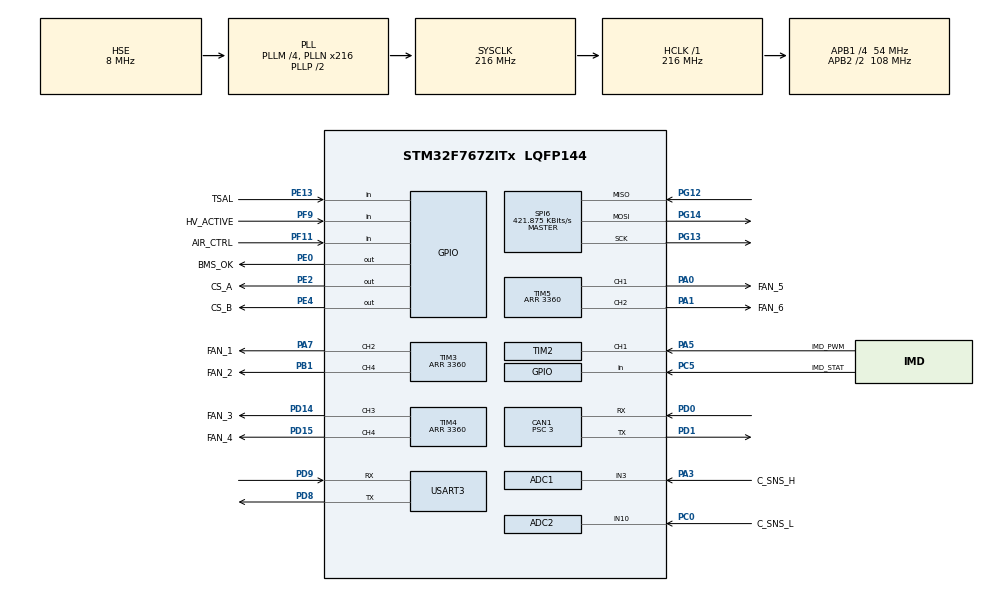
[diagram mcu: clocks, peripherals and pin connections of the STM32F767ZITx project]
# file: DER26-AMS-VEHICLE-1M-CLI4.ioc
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ADC1.Channel-0\#ChannelRegularConversion=ADC_CHANNEL_3
ADC1.ClockPrescaler=ADC_CLOCK_SYNC_PCLK_DIV6
ADC1.NbrOfConversionFlag=1
ADC1.Rank-0\#ChannelRegularConversion=1
ADC1.SamplingTime-0\#ChannelRegularConversion=ADC_SAMPLETIME_480CYCLES
ADC1.master=1
ADC2.Channel-0\#ChannelRegularConversion=ADC_CHANNEL_10
ADC2.ClockPrescaler=ADC_CLOCK_SYNC_PCLK_DIV6
ADC2.NbrOfConversionFlag=1
ADC2.Rank-0\#ChannelRegularConversion=1
ADC2.SamplingTime-0\#ChannelRegularConversion=ADC_SAMPLETIME_480CYCLES
CAN1.ABOM=ENABLE
CAN1.AWUM=ENABLE
CAN1.BS1=CAN_BS1_15TQ
CAN1.BS2=CAN_BS2_2TQ
CAN1.SJW=CAN_SJW_2TQ
CAN1.CalculateBaudRate=1000000
CAN1.CalculateTimeBit=4000
CAN1.CalculateTimeQuantum=222.22222222222223
CAN1.Prescaler=3
CORTEX_M7.MPU_Control=__NULL
CORTEX_M7.default_mode_Activation=1
FREERTOS.Tasks01=defaultTask,24,128,StartDefaultTask,Default,NULL,Dynamic,NULL,NULL
FREERTOS.configENABLE_FPU=1
FREERTOS.configUSE_NEWLIB_REENTRANT=1
Mcu.Family=STM32F7
Mcu.Name=STM32F767ZITx
Mcu.Package=LQFP144
NVIC.CAN1_TX_IRQn=true\:5\:0\:false\:false\:true\:true\:true\:true\:true
NVIC.CAN1_SCE_IRQn=true\:5\:0\:false\:false\:true\:true\:true\:true\:true
NVIC.CAN1_RX0_IRQn=true\:5\:0\:false\:false\:true\:true\:true\:true\:true
NVIC.PriorityGroup=NVIC_PRIORITYGROUP_4
NVIC.TIM2_IRQn=true\:5\:0\:false\:false\:true\:true\:true\:true\:true
NVIC.TIM7_IRQn=true\:15\:0\:false\:false\:true\:false\:false\:true\:true
NVIC.TimeBase=TIM7_IRQn
NVIC.TimeBaseIP=TIM7
NVIC.USART3_IRQn=true\:5\:0\:false\:false\:true\:true\:true\:true\:true
PA0/WKUP.GPIO_Label=FAN_5
PA0/WKUP.Signal=S_TIM5_CH1
PA1.GPIO_Label=FAN_6
PA1.Signal=S_TIM5_CH2
PA13.Mode=Serial_Wire
PA13.Signal=SYS_JTMS-SWDIO
PA14.Mode=Serial_Wire
PA14.Signal=SYS_JTCK-SWCLK
PA3.GPIO_Label=C_SNS_H
PA3.Signal=ADCx_IN3
PA5.GPIO_Label=IMD_PWM
PA5.Signal=S_TIM2_CH1_ETR
PA7.GPIO_Label=FAN_1
PA7.Signal=S_TIM3_CH2
PB1.GPIO_Label=FAN_2
PB1.Signal=S_TIM3_CH4
PC0.GPIO_Label=C_SNS_L
PC0.Signal=ADCx_IN10
PC14/OSC32_IN.Mode=LSE-External-Oscillator
PC14/OSC32_IN.Signal=RCC_OSC32_IN
PC15/OSC32_OUT.Mode=LSE-External-Oscillator
PC15/OSC32_OUT.Signal=RCC_OSC32_OUT
PC5.GPIO_Label=IMD_STAT
PC5.Signal=GPIO_Input
PD0.Mode=CAN_Activate
PD0.Signal=CAN1_RX
PD1.Mode=CAN_Activate
PD1.Signal=CAN1_TX
PD14.GPIO_Label=FAN_3
PD14.Signal=S_TIM4_CH3
PD15.GPIO_Label=FAN_4
PD15.Signal=S_TIM4_CH4
PD8.Mode=Asynchronous
PD8.Signal=USART3_TX
PD9.Mode=Asynchronous
PD9.Signal=USART3_RX
PE0.GPIO_Label=BMS_OK
PE0.Signal=GPIO_Output
PE13.GPIO_Label=TSAL
PE13.Signal=GPIO_Input
PE2.GPIO_Label=CS_A
PE2.Signal=GPIO_Output
PE4.GPIO_Label=CS_B
PE4.Signal=GPIO_Output
PF11.GPIO_Label=AIR_CTRL
PF11.Signal=GPIO_Input
PG12.Mode=Full_Duplex_Master
PG12.Signal=SPI6_MISO
PG13.Mode=Full_Duplex_Master
PG13.Signal=SPI6_SCK
PG14.Mode=Full_Duplex_Master
PG14.Signal=SPI6_MOSI
PH0/OSC_IN.Mode=HSE-External-Oscillator
PH0/OSC_IN.Signal=RCC_OSC_IN
PH1/OSC_OUT.Mode=HSE-External-Oscillator
PH1/OSC_OUT.Signal=RCC_OSC_OUT
ProjectManager.HeapSize=0x200
ProjectManager.StackSize=0x400
ProjectManager.TargetToolchain=STM32CubeIDE
RCC.AHBFreq_Value=216000000
RCC.APB1CLKDivider=RCC_HCLK_DIV4
RCC.APB1Freq_Value=54000000
RCC.APB1TimFreq_Value=108000000
RCC.APB2CLKDivider=RCC_HCLK_DIV2
RCC.APB2Freq_Value=108000000
RCC.APB2TimFreq_Value=216000000
RCC.CortexFreq_Value=216000000
RCC.HCLKFreq_Value=216000000
RCC.HSE_VALUE=8000000
RCC.HSI_VALUE=16000000
RCC.PLLM=4
RCC.PLLN=216
RCC.PLLSourceVirtual=RCC_PLLSOURCE_HSE
RCC.SYSCLKFreq_VALUE=216000000
RCC.SYSCLKSource=RCC_SYSCLKSOURCE_PLLCLK
RCC.USBFreq_Value=216000000
RCC.VCOOutputFreq_Value=432000000
SH.ADCx_IN10.0=ADC2_IN10,IN10
SH.ADCx_IN3.0=ADC1_IN3,IN3
SH.S_TIM2_CH1_ETR.0=TIM2_CH1,PWM_Input_1
SH.S_TIM3_CH2.0=TIM3_CH2,PWM Generation2 CH2
SH.S_TIM3_CH4.0=TIM3_CH4,PWM Generation4 CH4
SH.S_TIM4_CH3.0=TIM4_CH3,PWM Generation3 CH3
SH.S_TIM4_CH4.0=TIM4_CH4,PWM Generation4 CH4
SH.S_TIM5_CH1.0=TIM5_CH1,PWM Generation1 CH1
SH.S_TIM5_CH2.0=TIM5_CH2,PWM Generation2 CH2
SPI6.BaudRatePrescaler=SPI_BAUDRATEPRESCALER_256
SPI6.CLKPhase=SPI_PHASE_2EDGE
SPI6.CLKPolarity=SPI_POLARITY_HIGH
SPI6.CalculateBaudRate=421.875 KBits/s
SPI6.DataSize=SPI_DATASIZE_8BIT
SPI6.Direction=SPI_DIRECTION_2LINES
SPI6.Mode=SPI_MODE_MASTER
SPI6.VirtualType=VM_MASTER
TIM1.AutoReloadPreload=TIM_AUTORELOAD_PRELOAD_ENABLE
TIM1.Prescaler=215
TIM3.Channel-PWM\ Generation2\ CH2=TIM_CHANNEL_2
TIM3.Channel-PWM\ Generation4\ CH4=TIM_CHANNEL_4
TIM3.Period=3360
TIM4.AutoReloadPreload=TIM_AUTORELOAD_PRELOAD_ENABLE
TIM4.Channel-PWM\ Generation3\ CH3=TIM_CHANNEL_3
TIM4.Channel-PWM\ Generation4\ CH4=TIM_CHANNEL_4
TIM4.Period=3360
TIM5.AutoReloadPreload=TIM_AUTORELOAD_PRELOAD_ENABLE
TIM5.Channel-PWM\ Generation1\ CH1=TIM_CHANNEL_1
TIM5.Channel-PWM\ Generation2\ CH2=TIM_CHANNEL_2
TIM5.Period=3360
USART3.VirtualMode-Asynchronous=VM_ASYNC
VP_FREERTOS_VS_CMSIS_V2.Mode=CMSIS_V2
VP_SYS_VS_tim7.Mode=TIM7
VP_TIM1_VS_ClockSourceINT.Mode=Internal
VP_TIM2_VS_ClockSourceINT.Mode=Internal
VP_TIM3_VS_ClockSourceINT.Mode=Internal
VP_TIM4_VS_ClockSourceINT.Mode=Internal
VP_TIM5_VS_ClockSourceINT.Mode=Internal
board=custom
PF9.GPIO_Label=HV_ACTIVE
PF9.Signal=GPIO_Input

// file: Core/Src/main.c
/* USER CODE BEGIN Header */
/**
  ******************************************************************************
  * @file           : main.c
  * @brief          : Main program body
  ******************************************************************************
  * @attention
  *
  * Copyright (c) 2025 STMicroelectronics.
  * All rights reserved.
  *
  * This software is licensed under terms that can be found in the LICENSE file
  * in the root directory of this software component.
  * If no LICENSE file comes with this software, it is provided AS-IS.
  *
  ******************************************************************************
  */
/* USER CODE END Header */
#include "main.h"
#include "cmsis_os.h"

/* USER CODE BEGIN Includes */
#include "app.h"
#include "diagnostics/ams_perf.h"
#include "ext_drivers/ams_spi6_transport.h"
#include "ext_drivers/ams_safety.h"
/* USER CODE END Includes */

ADC_HandleTypeDef hadc1;
ADC_HandleTypeDef hadc2;

CAN_HandleTypeDef hcan1;

SPI_HandleTypeDef hspi6;

TIM_HandleTypeDef htim1;
TIM_HandleTypeDef htim2;
TIM_HandleTypeDef htim3;
TIM_HandleTypeDef htim4;
TIM_HandleTypeDef htim5;

UART_HandleTypeDef huart3;

/* Definitions for defaultTask */
osThreadId_t defaultTaskHandle;
const osThreadAttr_t defaultTask_attributes = {
  .name = "defaultTask",
  .stack_size = 128 * 4,
  .priority = (osPriority_t) osPriorityNormal,
};

void SystemClock_Config(void);
static void MX_GPIO_Init(void);
static void MX_ADC1_Init(void);
static void MX_ADC2_Init(void);
static void MX_CAN1_Init(void);
static void MX_SPI6_Init(void);
static void MX_TIM2_Init(void);
static void MX_TIM3_Init(void);
static void MX_TIM4_Init(void);
static void MX_TIM5_Init(void);
static void MX_USART3_UART_Init(void);
static void MX_TIM1_Init(void);
void StartDefaultTask(void *argument);

int main(void)
{

  /* MCU Configuration--------------------------------------------------------*/

  /* Reset of all peripherals, Initializes the Flash interface and the Systick. */
#if AMS_BENCHMARK_ICACHE
  SCB_EnableICache();
#endif
#if AMS_BENCHMARK_DCACHE
  SCB_EnableDCache();
#endif
  HAL_Init();

  /* USER CODE BEGIN Init */
  ams_safety_force_bms_low();
  ams_safety_record_reset_cause();
  ams_safety_enable_cpu_faults();
  /* USER CODE END Init */

  /* Configure the system clock */
  SystemClock_Config();

  /* USER CODE BEGIN SysInit */
  ams_perf_init();

  /* USER CODE END SysInit */

  /* Initialize all configured peripherals */
  MX_GPIO_Init();
  MX_ADC1_Init();
  MX_ADC2_Init();
  MX_CAN1_Init();
  MX_SPI6_Init();
  MX_TIM2_Init();
  MX_TIM3_Init();
  MX_TIM4_Init();
  MX_TIM5_Init();
#if AMS_ENABLE_CLI
  MX_USART3_UART_Init();
#endif
  MX_TIM1_Init();

  /* Init scheduler */
  osKernelInitialize();

  /* USER CODE BEGIN RTOS_QUEUES */
  /* add queues, ... */
#if 0
  /* USER CODE END RTOS_QUEUES */

  /* Create the thread(s) */
  /* creation of defaultTask */
  defaultTaskHandle = osThreadNew(StartDefaultTask, NULL, &defaultTask_attributes);

  /* USER CODE BEGIN RTOS_THREADS */
#endif
  /* add threads, ... */
  /* USER CODE END RTOS_THREADS */

  /* USER CODE BEGIN RTOS_EVENTS */
  /* add events, ... */
  app_create();
  /* USER CODE END RTOS_EVENTS */

  /* Start scheduler */
  osKernelStart();

  /* Reaching this point means the scheduler failed to start or returned. */
  __disable_irq();
  ams_safety_panic(AMS_PANIC_SCHEDULER_RETURNED);

  /* We should never get here as control is now taken by the scheduler */

  /* Infinite loop */
  while (1)
  {

  }
}

void SystemClock_Config(void)
{
  RCC_OscInitTypeDef RCC_OscInitStruct = {0};
  RCC_ClkInitTypeDef RCC_ClkInitStruct = {0};

  /** Configure LSE Drive Capability
  */
  HAL_PWR_EnableBkUpAccess();

  /** Configure the main internal regulator output voltage
  */
  __HAL_RCC_PWR_CLK_ENABLE();
  __HAL_PWR_VOLTAGESCALING_CONFIG(PWR_REGULATOR_VOLTAGE_SCALE1);

  /** Initializes the RCC Oscillators according to the specified parameters
  * in the RCC_OscInitTypeDef structure.
  */
  RCC_OscInitStruct.OscillatorType = RCC_OSCILLATORTYPE_HSE;
  RCC_OscInitStruct.HSEState = RCC_HSE_ON;
  RCC_OscInitStruct.PLL.PLLState = RCC_PLL_ON;
  RCC_OscInitStruct.PLL.PLLSource = RCC_PLLSOURCE_HSE;
  RCC_OscInitStruct.PLL.PLLM = 4;
  RCC_OscInitStruct.PLL.PLLN = 216;
  RCC_OscInitStruct.PLL.PLLP = RCC_PLLP_DIV2;
  RCC_OscInitStruct.PLL.PLLQ = 2;
  RCC_OscInitStruct.PLL.PLLR = 2;
  if (HAL_RCC_OscConfig(&RCC_OscInitStruct) != HAL_OK)
  {
    Error_Handler();
  }

  /** Activate the Over-Drive mode
  */
  if (HAL_PWREx_EnableOverDrive() != HAL_OK)
  {
    Error_Handler();
  }

  /** Initializes the CPU, AHB and APB buses clocks
  */
  RCC_ClkInitStruct.ClockType = RCC_CLOCKTYPE_HCLK|RCC_CLOCKTYPE_SYSCLK
                              |RCC_CLOCKTYPE_PCLK1|RCC_CLOCKTYPE_PCLK2;
  RCC_ClkInitStruct.SYSCLKSource = RCC_SYSCLKSOURCE_PLLCLK;
  RCC_ClkInitStruct.AHBCLKDivider = RCC_SYSCLK_DIV1;
  RCC_ClkInitStruct.APB1CLKDivider = RCC_HCLK_DIV4;
  RCC_ClkInitStruct.APB2CLKDivider = RCC_HCLK_DIV2;

  if (HAL_RCC_ClockConfig(&RCC_ClkInitStruct, FLASH_LATENCY_7) != HAL_OK)
  {
    Error_Handler();
  }
}

static void MX_ADC1_Init(void)
{

  ADC_ChannelConfTypeDef sConfig = {0};

  /** Configure the global features of the ADC (Clock, Resolution, Data Alignment and number of conversion)
  */
  hadc1.Instance = ADC1;
  hadc1.Init.ClockPrescaler = ADC_CLOCK_SYNC_PCLK_DIV6;
  hadc1.Init.Resolution = ADC_RESOLUTION_12B;
  hadc1.Init.ScanConvMode = ADC_SCAN_DISABLE;
  hadc1.Init.ContinuousConvMode = DISABLE;
  hadc1.Init.DiscontinuousConvMode = DISABLE;
  hadc1.Init.ExternalTrigConvEdge = ADC_EXTERNALTRIGCONVEDGE_NONE;
  hadc1.Init.ExternalTrigConv = ADC_SOFTWARE_START;
  hadc1.Init.DataAlign = ADC_DATAALIGN_RIGHT;
  hadc1.Init.NbrOfConversion = 1;
  hadc1.Init.DMAContinuousRequests = DISABLE;
  hadc1.Init.EOCSelection = ADC_EOC_SINGLE_CONV;
  if (HAL_ADC_Init(&hadc1) != HAL_OK)
  {
    Error_Handler();
  }

  /** Configure for the selected ADC regular channel its corresponding rank in the sequencer and its sample time.
  */
  sConfig.Channel = ADC_CHANNEL_3;
  sConfig.Rank = ADC_REGULAR_RANK_1;
  sConfig.SamplingTime = AMS_CURRENT_ADC_SAMPLING_TIME;
  if (HAL_ADC_ConfigChannel(&hadc1, &sConfig) != HAL_OK)
  {
    Error_Handler();
  }

}

static void MX_ADC2_Init(void)
{

  ADC_ChannelConfTypeDef sConfig = {0};

  /** Configure the global features of the ADC (Clock, Resolution, Data Alignment and number of conversion)
  */
  hadc2.Instance = ADC2;
  hadc2.Init.ClockPrescaler = ADC_CLOCK_SYNC_PCLK_DIV6;
  hadc2.Init.Resolution = ADC_RESOLUTION_12B;
  hadc2.Init.ScanConvMode = ADC_SCAN_DISABLE;
  hadc2.Init.ContinuousConvMode = DISABLE;
  hadc2.Init.DiscontinuousConvMode = DISABLE;
  hadc2.Init.ExternalTrigConvEdge = ADC_EXTERNALTRIGCONVEDGE_NONE;
  hadc2.Init.ExternalTrigConv = ADC_SOFTWARE_START;
  hadc2.Init.DataAlign = ADC_DATAALIGN_RIGHT;
  hadc2.Init.NbrOfConversion = 1;
  hadc2.Init.DMAContinuousRequests = DISABLE;
  hadc2.Init.EOCSelection = ADC_EOC_SINGLE_CONV;
  if (HAL_ADC_Init(&hadc2) != HAL_OK)
  {
    Error_Handler();
  }

  /** Configure for the selected ADC regular channel its corresponding rank in the sequencer and its sample time.
  */
  sConfig.Channel = ADC_CHANNEL_10;
  sConfig.Rank = ADC_REGULAR_RANK_1;
  sConfig.SamplingTime = AMS_CURRENT_ADC_SAMPLING_TIME;
  if (HAL_ADC_ConfigChannel(&hadc2, &sConfig) != HAL_OK)
  {
    Error_Handler();
  }

}

static void MX_CAN1_Init(void)
{

  hcan1.Instance = CAN1;
  hcan1.Init.Prescaler = DER26_CAN_PRESCALER;
  hcan1.Init.Mode = CAN_MODE_NORMAL;
  hcan1.Init.SyncJumpWidth = DER26_CAN_SJW;
  hcan1.Init.TimeSeg1 = DER26_CAN_BS1;
  hcan1.Init.TimeSeg2 = DER26_CAN_BS2;
  hcan1.Init.TimeTriggeredMode = DISABLE;
  hcan1.Init.AutoBusOff = ENABLE;
  hcan1.Init.AutoWakeUp = ENABLE;
  hcan1.Init.AutoRetransmission = ENABLE;
  hcan1.Init.ReceiveFifoLocked = DISABLE;
  hcan1.Init.TransmitFifoPriority = DISABLE;
  if (HAL_CAN_Init(&hcan1) != HAL_OK)
  {
    Error_Handler();
  }
  /* USER CODE BEGIN CAN1_Init 2 */
  if (canbus_configure_rx_filters(&hcan1) != HAL_OK)
  {
    Error_Handler();
  }
  /* USER CODE END CAN1_Init 2 */

}

static void MX_SPI6_Init(void)
{

  /* SPI6 parameter configuration*/
  hspi6.Instance = SPI6;
  hspi6.Init.Mode = SPI_MODE_MASTER;
  hspi6.Init.Direction = SPI_DIRECTION_2LINES;
  hspi6.Init.DataSize = SPI_DATASIZE_8BIT;
  /* Drexel AMS ties ADBMS6822 PHAPOL/PHAPOL2 high, selecting SPI mode 3.
     Do not change to mode 0 unless the board strapping changes. */
  hspi6.Init.CLKPolarity = SPI_POLARITY_HIGH;
  hspi6.Init.CLKPhase = SPI_PHASE_2EDGE;
  hspi6.Init.NSS = SPI_NSS_SOFT;
#if AMS_ADBMS_SPI_PRESCALER_DIV == 64
  hspi6.Init.BaudRatePrescaler = SPI_BAUDRATEPRESCALER_64;
#elif AMS_ADBMS_SPI_PRESCALER_DIV == 128
  hspi6.Init.BaudRatePrescaler = SPI_BAUDRATEPRESCALER_128;
#else
  hspi6.Init.BaudRatePrescaler = SPI_BAUDRATEPRESCALER_256;
#endif
  hspi6.Init.FirstBit = SPI_FIRSTBIT_MSB;
  hspi6.Init.TIMode = SPI_TIMODE_DISABLE;
  hspi6.Init.CRCCalculation = SPI_CRCCALCULATION_DISABLE;
  hspi6.Init.CRCPolynomial = 7;
  hspi6.Init.CRCLength = SPI_CRC_LENGTH_DATASIZE;
  hspi6.Init.NSSPMode = SPI_NSS_PULSE_DISABLE;
  if (HAL_SPI_Init(&hspi6) != HAL_OK)
  {
    Error_Handler();
  }
  /* USER CODE BEGIN SPI6_Init 2 */
#if AMS_ADBMS_SPI_DMA
  ams_spi6_dma_init();
#endif

  /* USER CODE END SPI6_Init 2 */

}

static void MX_TIM1_Init(void)
{

  TIM_ClockConfigTypeDef sClockSourceConfig = {0};
  TIM_MasterConfigTypeDef sMasterConfig = {0};

  htim1.Instance = TIM1;
  htim1.Init.Prescaler = 215;
  htim1.Init.CounterMode = TIM_COUNTERMODE_UP;
  htim1.Init.Period = 65535;
  htim1.Init.ClockDivision = TIM_CLOCKDIVISION_DIV1;
  htim1.Init.RepetitionCounter = 0;
  htim1.Init.AutoReloadPreload = TIM_AUTORELOAD_PRELOAD_ENABLE;
  if (HAL_TIM_Base_Init(&htim1) != HAL_OK)
  {
    Error_Handler();
  }
  sClockSourceConfig.ClockSource = TIM_CLOCKSOURCE_INTERNAL;
  if (HAL_TIM_ConfigClockSource(&htim1, &sClockSourceConfig) != HAL_OK)
  {
    Error_Handler();
  }
  sMasterConfig.MasterOutputTrigger = TIM_TRGO_RESET;
  sMasterConfig.MasterOutputTrigger2 = TIM_TRGO2_RESET;
  sMasterConfig.MasterSlaveMode = TIM_MASTERSLAVEMODE_DISABLE;
  if (HAL_TIMEx_MasterConfigSynchronization(&htim1, &sMasterConfig) != HAL_OK)
  {
    Error_Handler();
  }

}

static void MX_TIM2_Init(void)
{

  TIM_ClockConfigTypeDef sClockSourceConfig = {0};
  TIM_SlaveConfigTypeDef sSlaveConfig = {0};
  TIM_IC_InitTypeDef sConfigIC = {0};
  TIM_MasterConfigTypeDef sMasterConfig = {0};

  htim2.Instance = TIM2;
  htim2.Init.Prescaler = 0;
  htim2.Init.CounterMode = TIM_COUNTERMODE_UP;
  htim2.Init.Period = 4294967295;
  htim2.Init.ClockDivision = TIM_CLOCKDIVISION_DIV1;
  htim2.Init.AutoReloadPreload = TIM_AUTORELOAD_PRELOAD_DISABLE;
  if (HAL_TIM_Base_Init(&htim2) != HAL_OK)
  {
    Error_Handler();
  }
  sClockSourceConfig.ClockSource = TIM_CLOCKSOURCE_INTERNAL;
  if (HAL_TIM_ConfigClockSource(&htim2, &sClockSourceConfig) != HAL_OK)
  {
    Error_Handler();
  }
  if (HAL_TIM_IC_Init(&htim2) != HAL_OK)
  {
    Error_Handler();
  }
  sSlaveConfig.SlaveMode = TIM_SLAVEMODE_RESET;
  sSlaveConfig.InputTrigger = TIM_TS_TI1FP1;
  sSlaveConfig.TriggerPolarity = TIM_INPUTCHANNELPOLARITY_RISING;
  sSlaveConfig.TriggerPrescaler = TIM_ICPSC_DIV1;
  sSlaveConfig.TriggerFilter = 0;
  if (HAL_TIM_SlaveConfigSynchro(&htim2, &sSlaveConfig) != HAL_OK)
  {
    Error_Handler();
  }
  sConfigIC.ICPolarity = TIM_INPUTCHANNELPOLARITY_RISING;
  sConfigIC.ICSelection = TIM_ICSELECTION_DIRECTTI;
  sConfigIC.ICPrescaler = TIM_ICPSC_DIV1;
  sConfigIC.ICFilter = 0;
  if (HAL_TIM_IC_ConfigChannel(&htim2, &sConfigIC, TIM_CHANNEL_1) != HAL_OK)
  {
    Error_Handler();
  }
  sConfigIC.ICPolarity = TIM_INPUTCHANNELPOLARITY_FALLING;
  sConfigIC.ICSelection = TIM_ICSELECTION_INDIRECTTI;
  if (HAL_TIM_IC_ConfigChannel(&htim2, &sConfigIC, TIM_CHANNEL_2) != HAL_OK)
  {
    Error_Handler();
  }
  sMasterConfig.MasterOutputTrigger = TIM_TRGO_RESET;
  sMasterConfig.MasterSlaveMode = TIM_MASTERSLAVEMODE_DISABLE;
  if (HAL_TIMEx_MasterConfigSynchronization(&htim2, &sMasterConfig) != HAL_OK)
  {
    Error_Handler();
  }

}

static void MX_TIM3_Init(void)
{

  TIM_ClockConfigTypeDef sClockSourceConfig = {0};
  TIM_MasterConfigTypeDef sMasterConfig = {0};
  TIM_OC_InitTypeDef sConfigOC = {0};

  htim3.Instance = TIM3;
  htim3.Init.Prescaler = 0;
  htim3.Init.CounterMode = TIM_COUNTERMODE_UP;
  htim3.Init.Period = 3360;
  htim3.Init.ClockDivision = TIM_CLOCKDIVISION_DIV1;
  htim3.Init.AutoReloadPreload = TIM_AUTORELOAD_PRELOAD_DISABLE;
  if (HAL_TIM_Base_Init(&htim3) != HAL_OK)
  {
    Error_Handler();
  }
  sClockSourceConfig.ClockSource = TIM_CLOCKSOURCE_INTERNAL;
  if (HAL_TIM_ConfigClockSource(&htim3, &sClockSourceConfig) != HAL_OK)
  {
    Error_Handler();
  }
  if (HAL_TIM_PWM_Init(&htim3) != HAL_OK)
  {
    Error_Handler();
  }
  sMasterConfig.MasterOutputTrigger = TIM_TRGO_RESET;
  sMasterConfig.MasterSlaveMode = TIM_MASTERSLAVEMODE_DISABLE;
  if (HAL_TIMEx_MasterConfigSynchronization(&htim3, &sMasterConfig) != HAL_OK)
  {
    Error_Handler();
  }
  sConfigOC.OCMode = TIM_OCMODE_PWM1;
  sConfigOC.Pulse = 0;
  sConfigOC.OCPolarity = TIM_OCPOLARITY_HIGH;
  sConfigOC.OCFastMode = TIM_OCFAST_DISABLE;
  if (HAL_TIM_PWM_ConfigChannel(&htim3, &sConfigOC, TIM_CHANNEL_2) != HAL_OK)
  {
    Error_Handler();
  }
  if (HAL_TIM_PWM_ConfigChannel(&htim3, &sConfigOC, TIM_CHANNEL_4) != HAL_OK)
  {
    Error_Handler();
  }
  HAL_TIM_MspPostInit(&htim3);

}

static void MX_TIM4_Init(void)
{

  TIM_ClockConfigTypeDef sClockSourceConfig = {0};
  TIM_MasterConfigTypeDef sMasterConfig = {0};
  TIM_OC_InitTypeDef sConfigOC = {0};

  htim4.Instance = TIM4;
  htim4.Init.Prescaler = 0;
  htim4.Init.CounterMode = TIM_COUNTERMODE_UP;
  htim4.Init.Period = 3360;
  htim4.Init.ClockDivision = TIM_CLOCKDIVISION_DIV1;
  htim4.Init.AutoReloadPreload = TIM_AUTORELOAD_PRELOAD_ENABLE;
  if (HAL_TIM_Base_Init(&htim4) != HAL_OK)
  {
    Error_Handler();
  }
  sClockSourceConfig.ClockSource = TIM_CLOCKSOURCE_INTERNAL;
  if (HAL_TIM_ConfigClockSource(&htim4, &sClockSourceConfig) != HAL_OK)
  {
    Error_Handler();
  }
  if (HAL_TIM_PWM_Init(&htim4) != HAL_OK)
  {
    Error_Handler();
  }
  sMasterConfig.MasterOutputTrigger = TIM_TRGO_RESET;
  sMasterConfig.MasterSlaveMode = TIM_MASTERSLAVEMODE_DISABLE;
  if (HAL_TIMEx_MasterConfigSynchronization(&htim4, &sMasterConfig) != HAL_OK)
  {
    Error_Handler();
  }
  sConfigOC.OCMode = TIM_OCMODE_PWM1;
  sConfigOC.Pulse = 0;
  sConfigOC.OCPolarity = TIM_OCPOLARITY_HIGH;
  sConfigOC.OCFastMode = TIM_OCFAST_DISABLE;
  if (HAL_TIM_PWM_ConfigChannel(&htim4, &sConfigOC, TIM_CHANNEL_3) != HAL_OK)
  {
    Error_Handler();
  }
  if (HAL_TIM_PWM_ConfigChannel(&htim4, &sConfigOC, TIM_CHANNEL_4) != HAL_OK)
  {
    Error_Handler();
  }
  HAL_TIM_MspPostInit(&htim4);

}

static void MX_TIM5_Init(void)
{

  TIM_ClockConfigTypeDef sClockSourceConfig = {0};
  TIM_MasterConfigTypeDef sMasterConfig = {0};
  TIM_OC_InitTypeDef sConfigOC = {0};

  htim5.Instance = TIM5;
  htim5.Init.Prescaler = 0;
  htim5.Init.CounterMode = TIM_COUNTERMODE_UP;
  htim5.Init.Period = 3360;
  htim5.Init.ClockDivision = TIM_CLOCKDIVISION_DIV1;
  htim5.Init.AutoReloadPreload = TIM_AUTORELOAD_PRELOAD_ENABLE;
  if (HAL_TIM_Base_Init(&htim5) != HAL_OK)
  {
    Error_Handler();
  }
  sClockSourceConfig.ClockSource = TIM_CLOCKSOURCE_INTERNAL;
  if (HAL_TIM_ConfigClockSource(&htim5, &sClockSourceConfig) != HAL_OK)
  {
    Error_Handler();
  }
  if (HAL_TIM_PWM_Init(&htim5) != HAL_OK)
  {
    Error_Handler();
  }
  sMasterConfig.MasterOutputTrigger = TIM_TRGO_RESET;
  sMasterConfig.MasterSlaveMode = TIM_MASTERSLAVEMODE_DISABLE;
  if (HAL_TIMEx_MasterConfigSynchronization(&htim5, &sMasterConfig) != HAL_OK)
  {
    Error_Handler();
  }
  sConfigOC.OCMode = TIM_OCMODE_PWM1;
  sConfigOC.Pulse = 0;
  sConfigOC.OCPolarity = TIM_OCPOLARITY_HIGH;
  sConfigOC.OCFastMode = TIM_OCFAST_DISABLE;
  if (HAL_TIM_PWM_ConfigChannel(&htim5, &sConfigOC, TIM_CHANNEL_1) != HAL_OK)
  {
    Error_Handler();
  }
  if (HAL_TIM_PWM_ConfigChannel(&htim5, &sConfigOC, TIM_CHANNEL_2) != HAL_OK)
  {
    Error_Handler();
  }
  HAL_TIM_MspPostInit(&htim5);

}

static void MX_USART3_UART_Init(void)
{

  huart3.Instance = USART3;
  huart3.Init.BaudRate = 115200;
  huart3.Init.WordLength = UART_WORDLENGTH_8B;
  huart3.Init.StopBits = UART_STOPBITS_1;
  huart3.Init.Parity = UART_PARITY_NONE;
  huart3.Init.Mode = UART_MODE_TX_RX;
  huart3.Init.HwFlowCtl = UART_HWCONTROL_NONE;
  huart3.Init.OverSampling = UART_OVERSAMPLING_16;
  huart3.Init.OneBitSampling = UART_ONE_BIT_SAMPLE_DISABLE;
  huart3.AdvancedInit.AdvFeatureInit = UART_ADVFEATURE_NO_INIT;
  if (HAL_UART_Init(&huart3) != HAL_OK)
  {
    Error_Handler();
  }

}

static void MX_GPIO_Init(void)
{
  GPIO_InitTypeDef GPIO_InitStruct = {0};

  /* GPIO Ports Clock Enable */
  __HAL_RCC_GPIOE_CLK_ENABLE();
  __HAL_RCC_GPIOC_CLK_ENABLE();
  __HAL_RCC_GPIOF_CLK_ENABLE();
  __HAL_RCC_GPIOH_CLK_ENABLE();
  __HAL_RCC_GPIOA_CLK_ENABLE();
  __HAL_RCC_GPIOB_CLK_ENABLE();
  __HAL_RCC_GPIOG_CLK_ENABLE();
  __HAL_RCC_GPIOD_CLK_ENABLE();

  /*Configure GPIO pin Output Level */
  /* CS lines are active low. Keep both isoSPI chip-selects deselected
     immediately at GPIO init; BMS_OK remains low until safety checks pass. */
  HAL_GPIO_WritePin(CS_A_GPIO_Port, CS_A_Pin, GPIO_PIN_SET);
  HAL_GPIO_WritePin(CS_B_GPIO_Port, CS_B_Pin, GPIO_PIN_SET);
  HAL_GPIO_WritePin(GPIOE, BMS_OK_Pin, GPIO_PIN_RESET);

  /*Configure GPIO pins : CS_A_Pin CS_B_Pin BMS_OK_Pin */
  GPIO_InitStruct.Pin = CS_A_Pin|CS_B_Pin|BMS_OK_Pin;
  GPIO_InitStruct.Mode = GPIO_MODE_OUTPUT_PP;
  GPIO_InitStruct.Pull = GPIO_NOPULL;
  GPIO_InitStruct.Speed = GPIO_SPEED_FREQ_LOW;
  HAL_GPIO_Init(GPIOE, &GPIO_InitStruct);

  /*Configure GPIO pins : PE3 PE5 PE6 PE7
                           PE8 PE9 PE10 PE11
                           PE12 PE14 PE15 PE1 */
  GPIO_InitStruct.Pin = GPIO_PIN_3|GPIO_PIN_5|GPIO_PIN_6|GPIO_PIN_7
                          |GPIO_PIN_8|GPIO_PIN_9|GPIO_PIN_10|GPIO_PIN_11
                          |GPIO_PIN_12|GPIO_PIN_14|GPIO_PIN_15|GPIO_PIN_1;
  GPIO_InitStruct.Mode = GPIO_MODE_ANALOG;
  GPIO_InitStruct.Pull = GPIO_NOPULL;
  HAL_GPIO_Init(GPIOE, &GPIO_InitStruct);

  /*Configure GPIO pins : PC13 PC1 PC2 PC3
                           PC4 PC6 PC7 PC8
                           PC9 PC10 PC11 PC12 */
  GPIO_InitStruct.Pin = GPIO_PIN_13|GPIO_PIN_1|GPIO_PIN_2|GPIO_PIN_3
                          |GPIO_PIN_4|GPIO_PIN_6|GPIO_PIN_7|GPIO_PIN_8
                          |GPIO_PIN_9|GPIO_PIN_10|GPIO_PIN_11|GPIO_PIN_12;
  GPIO_InitStruct.Mode = GPIO_MODE_ANALOG;
  GPIO_InitStruct.Pull = GPIO_NOPULL;
  HAL_GPIO_Init(GPIOC, &GPIO_InitStruct);

  /*Configure GPIO pins : PF0 PF1 PF2 PF3
                           PF4 PF5 PF6 PF7
                           PF8 PF10 PF12
                           PF13 PF14 PF15 */
  GPIO_InitStruct.Pin = GPIO_PIN_0|GPIO_PIN_1|GPIO_PIN_2|GPIO_PIN_3
                          |GPIO_PIN_4|GPIO_PIN_5|GPIO_PIN_6|GPIO_PIN_7
                          |GPIO_PIN_8|GPIO_PIN_10|GPIO_PIN_12
                          |GPIO_PIN_13|GPIO_PIN_14|GPIO_PIN_15;
  GPIO_InitStruct.Mode = GPIO_MODE_ANALOG;
  GPIO_InitStruct.Pull = GPIO_NOPULL;
  HAL_GPIO_Init(GPIOF, &GPIO_InitStruct);

  /*Configure GPIO pins : PA2 PA4 PA6 PA8
                           PA9 PA10 PA11 PA12
                           PA15 */
  GPIO_InitStruct.Pin = GPIO_PIN_2|GPIO_PIN_4|GPIO_PIN_6|GPIO_PIN_8
                          |GPIO_PIN_9|GPIO_PIN_10|GPIO_PIN_11|GPIO_PIN_12
                          |GPIO_PIN_15;
  GPIO_InitStruct.Mode = GPIO_MODE_ANALOG;
  GPIO_InitStruct.Pull = GPIO_NOPULL;
  HAL_GPIO_Init(GPIOA, &GPIO_InitStruct);

  /*Configure GPIO pin : IMD_STAT_Pin */
  GPIO_InitStruct.Pin = IMD_STAT_Pin;
  GPIO_InitStruct.Mode = GPIO_MODE_INPUT;
  GPIO_InitStruct.Pull = GPIO_NOPULL;
  HAL_GPIO_Init(IMD_STAT_GPIO_Port, &GPIO_InitStruct);

  /*Configure GPIO pins : PB0 PB2 PB10 PB11
                           PB12 PB13 PB14 PB15
                           PB3 PB4 PB5 PB6
                           PB7 PB8 PB9 */
  GPIO_InitStruct.Pin = GPIO_PIN_0|GPIO_PIN_2|GPIO_PIN_10|GPIO_PIN_11
                          |GPIO_PIN_12|GPIO_PIN_13|GPIO_PIN_14|GPIO_PIN_15
                          |GPIO_PIN_3|GPIO_PIN_4|GPIO_PIN_5|GPIO_PIN_6
                          |GPIO_PIN_7|GPIO_PIN_8|GPIO_PIN_9;
  GPIO_InitStruct.Mode = GPIO_MODE_ANALOG;
  GPIO_InitStruct.Pull = GPIO_NOPULL;
  HAL_GPIO_Init(GPIOB, &GPIO_InitStruct);

  /* Schematic MCU.SchDoc: HV_ACTIVE_MCU is PF9. This is a digital
   * RTM HV-present indication, not a pack/load voltage measurement. */
  GPIO_InitStruct.Pin = HV_ACTIVE_Pin;
  GPIO_InitStruct.Mode = GPIO_MODE_INPUT;
  GPIO_InitStruct.Pull = GPIO_NOPULL;
  HAL_GPIO_Init(HV_ACTIVE_GPIO_Port, &GPIO_InitStruct);

  /*Configure GPIO pin : AIR_CTRL_Pin */
  GPIO_InitStruct.Pin = AIR_CTRL_Pin;
  GPIO_InitStruct.Mode = GPIO_MODE_INPUT;
  GPIO_InitStruct.Pull = GPIO_NOPULL;
  HAL_GPIO_Init(AIR_CTRL_GPIO_Port, &GPIO_InitStruct);

  /*Configure GPIO pins : PG0 PG1 PG2 PG3
                           PG4 PG5 PG6 PG7
                           PG8 PG9 PG10 PG11
                           PG15 */
  GPIO_InitStruct.Pin = GPIO_PIN_0|GPIO_PIN_1|GPIO_PIN_2|GPIO_PIN_3
                          |GPIO_PIN_4|GPIO_PIN_5|GPIO_PIN_6|GPIO_PIN_7
                          |GPIO_PIN_8|GPIO_PIN_9|GPIO_PIN_10|GPIO_PIN_11
                          |GPIO_PIN_15;
  GPIO_InitStruct.Mode = GPIO_MODE_ANALOG;
  GPIO_InitStruct.Pull = GPIO_NOPULL;
  HAL_GPIO_Init(GPIOG, &GPIO_InitStruct);

  /*Configure GPIO pin : TSAL_Pin */
  GPIO_InitStruct.Pin = TSAL_Pin;
  GPIO_InitStruct.Mode = GPIO_MODE_INPUT;
  GPIO_InitStruct.Pull = GPIO_NOPULL;
  HAL_GPIO_Init(TSAL_GPIO_Port, &GPIO_InitStruct);

  /*Configure GPIO pins : PD10 PD11 PD12 PD13
                           PD2 PD3 PD4 PD5
                           PD6 PD7 */
  GPIO_InitStruct.Pin = GPIO_PIN_10|GPIO_PIN_11|GPIO_PIN_12|GPIO_PIN_13
                          |GPIO_PIN_2|GPIO_PIN_3|GPIO_PIN_4|GPIO_PIN_5
                          |GPIO_PIN_6|GPIO_PIN_7;
  GPIO_InitStruct.Mode = GPIO_MODE_ANALOG;
  GPIO_InitStruct.Pull = GPIO_NOPULL;
  HAL_GPIO_Init(GPIOD, &GPIO_InitStruct);

}

void StartDefaultTask(void *argument)
{
  for(;;)
  {
    osDelay(1);
  }
}

void HAL_TIM_PeriodElapsedCallback(TIM_HandleTypeDef *htim)
{
  if (htim->Instance == TIM7) {
    HAL_IncTick();
  }
}

void Error_Handler(void)
{
  /* USER CODE BEGIN Error_Handler_Debug */
  __disable_irq();
  ams_safety_panic(AMS_PANIC_ERROR_HANDLER);
  while (1)
  {
  }
  /* USER CODE END Error_Handler_Debug */
}

#ifdef  USE_FULL_ASSERT
/**
  * @brief  Reports the name of the source file and the source line number
  *         where the assert_param error has occurred.
  * @param  file: pointer to the source file name
  * @param  line: assert_param error line source number
  * @retval None
  */
void assert_failed(uint8_t *file, uint32_t line)
{
  /* USER CODE BEGIN 6 */
  (void)file;
  (void)line;
  __disable_irq();
  ams_safety_panic(AMS_PANIC_ASSERT_FAILED);
  while (1)
  {
  }
  /* USER CODE END 6 */
}
#endif /* USE_FULL_ASSERT */
